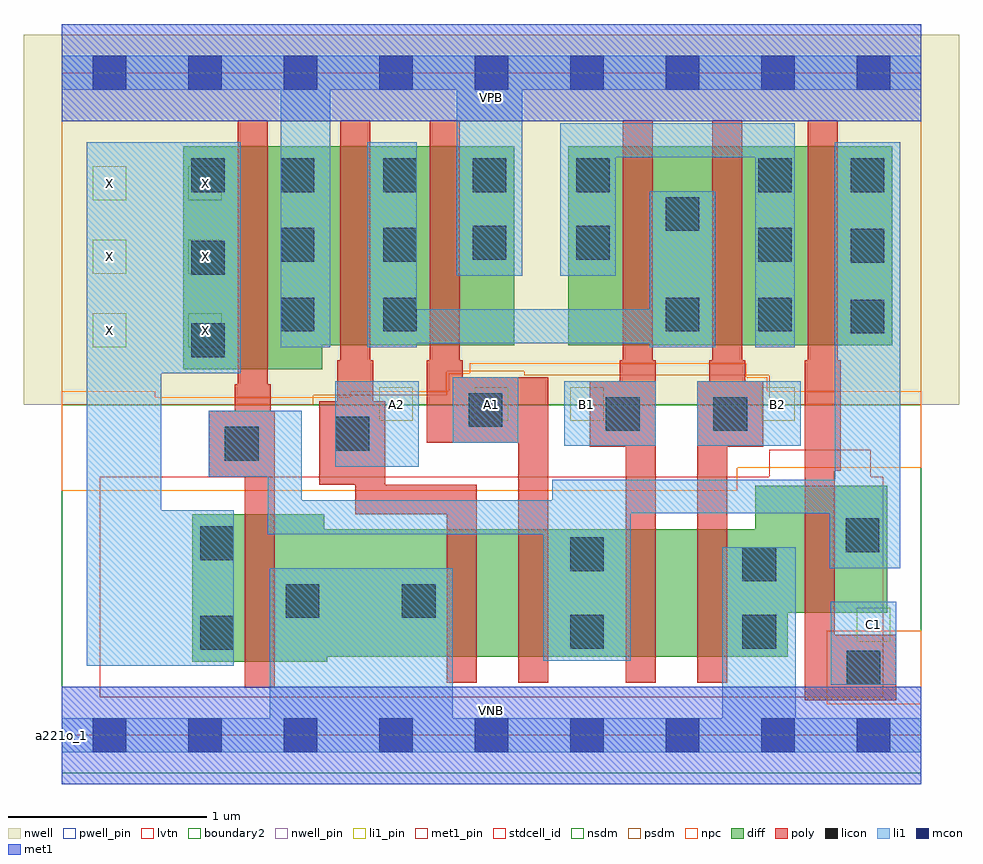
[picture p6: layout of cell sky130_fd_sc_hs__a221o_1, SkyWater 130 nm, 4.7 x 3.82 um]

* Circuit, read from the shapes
.subckt sky130_fd_sc_hs__a221o_1 A1 A2 B1 B2 C1 VGND VNB VPB VPWR X
XM1 VGND n1 X VNB sky130_fd_pr__nfet_01v8_lvt w=0.74 l=0.15
XM2 n2 A2 VGND VNB sky130_fd_pr__nfet_01v8_lvt w=0.64 l=0.15
XM3 n1 A1 n2 VNB sky130_fd_pr__nfet_01v8_lvt w=0.64 l=0.15
XM4 n3 B1 n1 VNB sky130_fd_pr__nfet_01v8_lvt w=0.64 l=0.15
XM5 VGND B2 n3 VNB sky130_fd_pr__nfet_01v8_lvt w=0.64 l=0.15
XM6 n1 C1 VGND VNB sky130_fd_pr__nfet_01v8_lvt w=0.64 l=0.15
XM7 VPWR n1 X VPB sky130_fd_pr__pfet_01v8 w=1.12 l=0.15
XM8 n4 A2 VPWR VPB sky130_fd_pr__pfet_01v8 w=1 l=0.15
XM9 VPWR A1 n4 VPB sky130_fd_pr__pfet_01v8 w=1 l=0.15
XM10 n4 B1 n5 VPB sky130_fd_pr__pfet_01v8 w=1 l=0.15
XM11 n5 B2 n4 VPB sky130_fd_pr__pfet_01v8 w=1 l=0.15
XM12 n1 C1 n5 VPB sky130_fd_pr__pfet_01v8 w=1 l=0.15
.ends

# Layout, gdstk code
import gdstk
lib = gdstk.Library(unit=1e-6, precision=1e-09)
def R(c, l, rs):  # rectangles x0, y0, x1, y1
    for r in rs: c.add(gdstk.rectangle(r[:2], r[2:], *l))
def A(c, l, x, y, w, h, nx, ny, dx, dy):  # array of equal rectangles
    R(c, l, [(x+i*dx, y+j*dy, x+i*dx+w, y+j*dy+h) for i in range(nx) for j in range(ny)])
def P(c, l, *ps):  # polygons
    for p in ps: c.add(gdstk.Polygon(p, *l))
nwell_pin = (64, 16)
nwell = (64, 20)
diff = (65, 20)
poly = (66, 20)
licon = (66, 44)
li1_pin = (67, 16)
li1 = (67, 20)
mcon = (67, 44)
met1_pin = (68, 16)
met1 = (68, 20)
stdcell_id = (81, 4)
nsdm = (93, 44)
psdm = (94, 20)
npc = (95, 20)
pwell_pin = (122, 16)
lvtn = (125, 44)
boundary2 = (236, 0)

sky130_fd_sc_hs__a221o_1 = lib.new_cell('sky130_fd_sc_hs__a221o_1')
R(sky130_fd_sc_hs__a221o_1, nwell_pin, [(0,3.085,4.32,3.33)])
R(sky130_fd_sc_hs__a221o_1, nwell, [(-0.19,1.66,4.51,3.52)])
R(sky130_fd_sc_hs__a221o_1, diff, [(2.545,1.96,4.175,2.96)])
P(sky130_fd_sc_hs__a221o_1, diff, [(2.275,2.96),(0.61,2.96),(0.61,1.84),(1.31,1.84),(1.31,1.96),(2.275,1.96)],
  [(4.15,1.255),(3.485,1.255),(3.485,1.035),(1.32,1.035),(1.32,1.11),(0.655,1.11),(0.655,0.37),(1.335,0.37),(1.335,0.395),(3.65,0.395),(3.65,0.615),(4.15,0.615)])
P(sky130_fd_sc_hs__a221o_1, poly, [(4.195,0.505),(3.885,0.505),(3.885,1.33),(3.915,1.33),(3.915,1.885),(3.9,1.885),(3.9,3.09),(3.75,3.09),(3.75,1.885),(3.735,1.885),(3.735,0.175),(4.195,0.175)],
  [(3.525,1.78),(3.435,1.78),(3.435,1.885),(3.42,1.885),(3.42,3.09),(3.27,3.09),(3.27,1.885),(3.255,1.885),(3.255,1.78),(3.195,1.78),(3.195,0.265),(3.345,0.265),(3.345,1.45),(3.525,1.45)],
  [(2.985,1.885),(2.97,1.885),(2.97,3.09),(2.82,3.09),(2.82,1.885),(2.805,1.885),(2.805,1.78),(2.655,1.78),(2.655,1.45),(2.835,1.45),(2.835,0.265),(2.985,0.265)],
  [(2.445,1.8),(2.015,1.8),(2.015,1.885),(2,1.885),(2,3.09),(1.85,3.09),(1.85,1.885),(1.835,1.885),(1.835,1.47),(2.295,1.47),(2.295,0.265),(2.445,0.265)],
  [(2.085,1.26),(1.625,1.26),(1.625,1.68),(1.565,1.68),(1.565,1.885),(1.55,1.885),(1.55,3.09),(1.4,3.09),(1.4,1.885),(1.385,1.885),(1.385,1.68),(1.295,1.68),(1.295,1.26),(1.475,1.26),(1.475,1.11),(1.935,1.11),(1.935,0.265),(2.085,0.265)],
  [(1.07,1.63),(1.05,1.63),(1.05,1.765),(1.035,1.765),(1.035,3.09),(0.885,3.09),(0.885,1.765),(0.87,1.765),(0.87,1.63),(0.74,1.63),(0.74,1.3),(0.92,1.3),(0.92,0.24),(1.07,0.24)])
A(sky130_fd_sc_hs__a221o_1, licon, 0.65, 1.9, 0.17, 0.17, 1, 3, 0, 0.415)
A(sky130_fd_sc_hs__a221o_1, licon, 3.965, 2.02, 0.17, 0.17, 1, 3, 0, 0.355)
A(sky130_fd_sc_hs__a221o_1, licon, 1.1, 2.03, 0.17, 0.17, 1, 3, 0, 0.35)
A(sky130_fd_sc_hs__a221o_1, licon, 1.615, 2.03, 0.17, 0.17, 1, 3, 0, 0.35)
A(sky130_fd_sc_hs__a221o_1, licon, 3.5, 2.03, 0.17, 0.17, 1, 3, 0, 0.35)
R(sky130_fd_sc_hs__a221o_1, licon, [(3.945,0.255,4.115,0.425), (0.695,0.43,0.865,0.6), (2.555,0.435,2.725,0.605), (3.42,0.435,3.59,0.605), (1.125,0.59,1.295,0.76), (1.71,0.59,1.88,0.76), (3.42,0.775,3.59,0.945), (2.555,0.825,2.725,0.995), (0.695,0.88,0.865,1.05), (3.94,0.92,4.11,1.09), (0.82,1.38,0.99,1.55), (1.375,1.43,1.545,1.6), (2.735,1.53,2.905,1.7), (3.275,1.53,3.445,1.7), (2.045,1.55,2.215,1.72), (3.035,2.03,3.205,2.2), (2.065,2.39,2.235,2.56), (2.585,2.39,2.755,2.56), (3.035,2.535,3.205,2.705), (2.065,2.73,2.235,2.9), (2.585,2.73,2.755,2.9)])
A(sky130_fd_sc_hs__a221o_1, li1_pin, 1.595, 1.58, 0.17, 0.17, 3, 1, 0.48, 0)
A(sky130_fd_sc_hs__a221o_1, li1_pin, 0.155, 1.95, 0.17, 0.17, 1, 3, 0, 0.37)
A(sky130_fd_sc_hs__a221o_1, li1_pin, 0.635, 1.95, 0.17, 0.17, 1, 3, 0, 0.37)
R(sky130_fd_sc_hs__a221o_1, li1_pin, [(3.995,0.47,4.165,0.64), (3.515,1.58,3.685,1.75)])
R(sky130_fd_sc_hs__a221o_1, li1, [(3.865,0.255,4.195,0.67), (1.375,1.35,1.795,1.78), (2.525,1.455,2.985,1.78), (3.195,1.455,3.715,1.78), (1.965,1.47,2.295,1.8)])
P(sky130_fd_sc_hs__a221o_1, li1, [(1.985,2.31),(1.985,3.245),(1.35,3.245),(1.35,1.95),(1.1,1.95),(1.1,3.245),(0,3.245),(0,3.415),(4.32,3.415),(4.32,3.245),(2.315,3.245),(2.315,2.31)],
  [(1.045,0.085),(1.045,0.84),(1.965,0.84),(1.965,0.085),(3.32,0.085),(3.32,0.945),(3.69,0.945),(3.69,0.085),(4.32,0.085),(4.32,-0.085),(0,-0.085),(0,0.085)],
  [(0.125,2.98),(0.9,2.98),(0.9,1.82),(0.5,1.82),(0.5,1.13),(0.865,1.13),(0.865,0.35),(0.125,0.35)],
  [(1.035,1.01),(1.035,1.3),(0.74,1.3),(0.74,1.63),(1.205,1.63),(1.205,1.18),(2.465,1.18),(2.465,1.285),(3.885,1.285),(3.885,2.98),(4.215,2.98),(4.215,0.84),(3.86,0.84),(3.86,1.115),(2.86,1.115),(2.86,0.375),(2.42,0.375),(2.42,1.01)],
  [(3.685,3.075),(2.505,3.075),(2.505,2.31),(2.785,2.31),(2.785,2.905),(3.485,2.905),(3.485,1.95),(3.685,1.95)],
  [(2.955,1.95),(2.955,1.97),(1.785,1.97),(1.785,1.95),(1.535,1.95),(1.535,2.98),(1.785,2.98),(1.785,2.14),(2.955,2.14),(2.955,2.735),(3.285,2.735),(3.285,1.95)])
A(sky130_fd_sc_hs__a221o_1, mcon, 0.155, -0.085, 0.17, 0.17, 9, 2, 0.48, 3.33)
R(sky130_fd_sc_hs__a221o_1, met1_pin, [(0,0,4.32,0.245), (0,3.085,4.32,3.33)])
R(sky130_fd_sc_hs__a221o_1, met1, [(0,-0.245,4.32,0.245), (0,3.085,4.32,3.575)])
R(sky130_fd_sc_hs__a221o_1, stdcell_id, [(0,0,4.32,3.33)])
R(sky130_fd_sc_hs__a221o_1, nsdm, [(0,-0.19,4.32,1.66)])
P(sky130_fd_sc_hs__a221o_1, psdm, [(4.32,3.52),(0,3.52),(0,1.66),(1.265,1.66),(1.265,1.71),(1.935,1.71),(1.935,1.83),(2.325,1.83),(2.325,1.81),(3.555,1.81),(3.555,1.66),(4.32,1.66)])
R(sky130_fd_sc_hs__a221o_1, npc, [(3.845,0.155,4.32,0.525)])
P(sky130_fd_sc_hs__a221o_1, npc, [(4.32,1.73),(3.545,1.73),(3.545,1.8),(3.44,1.8),(3.44,1.87),(2.05,1.87),(2.05,1.82),(1.945,1.82),(1.945,1.73),(1.45,1.73),(1.45,1.7),(0.47,1.7),(0.47,1.73),(0,1.73),(0,1.23),(3.395,1.23),(3.395,1.345),(4.32,1.345)])
R(sky130_fd_sc_hs__a221o_1, pwell_pin, [(0,0,4.32,0.245)])
P(sky130_fd_sc_hs__a221o_1, lvtn, [(4.13,1.3),(4.065,1.3),(4.065,1.435),(3.555,1.435),(3.555,1.3),(0.19,1.3),(0.19,0.19),(4.13,0.19)])
R(sky130_fd_sc_hs__a221o_1, boundary2, [(0,0,4.32,3.33)])
sky130_fd_sc_hs__a221o_1.add(gdstk.Label('a221o_1', (0,0), layer=83, texttype=44))
sky130_fd_sc_hs__a221o_1.add(gdstk.Label('VNB', (2.16,0.123), layer=64, texttype=59))
sky130_fd_sc_hs__a221o_1.add(gdstk.Label('VPB', (2.16,3.208), layer=64, texttype=5))
sky130_fd_sc_hs__a221o_1.add(gdstk.Label('VPWR', (2.16,3.208), layer=68, texttype=5))
sky130_fd_sc_hs__a221o_1.add(gdstk.Label('VGND', (2.16,0.123), layer=68, texttype=5))
sky130_fd_sc_hs__a221o_1.add(gdstk.Label('X', (0.24,2.035), layer=67, texttype=5))
sky130_fd_sc_hs__a221o_1.add(gdstk.Label('X', (0.24,2.405), layer=67, texttype=5))
sky130_fd_sc_hs__a221o_1.add(gdstk.Label('X', (0.24,2.775), layer=67, texttype=5))
sky130_fd_sc_hs__a221o_1.add(gdstk.Label('X', (0.72,2.035), layer=67, texttype=5))
sky130_fd_sc_hs__a221o_1.add(gdstk.Label('X', (0.72,2.405), layer=67, texttype=5))
sky130_fd_sc_hs__a221o_1.add(gdstk.Label('X', (0.72,2.775), layer=67, texttype=5))
sky130_fd_sc_hs__a221o_1.add(gdstk.Label('C1', (4.08,0.555), layer=67, texttype=5))
sky130_fd_sc_hs__a221o_1.add(gdstk.Label('B2', (3.6,1.665), layer=67, texttype=5))
sky130_fd_sc_hs__a221o_1.add(gdstk.Label('A2', (1.68,1.665), layer=67, texttype=5))
sky130_fd_sc_hs__a221o_1.add(gdstk.Label('A1', (2.16,1.665), layer=67, texttype=5))
sky130_fd_sc_hs__a221o_1.add(gdstk.Label('B1', (2.64,1.665), layer=67, texttype=5))

lib.write_gds('sky130_fd_sc_hs__a221o_1.gds')
